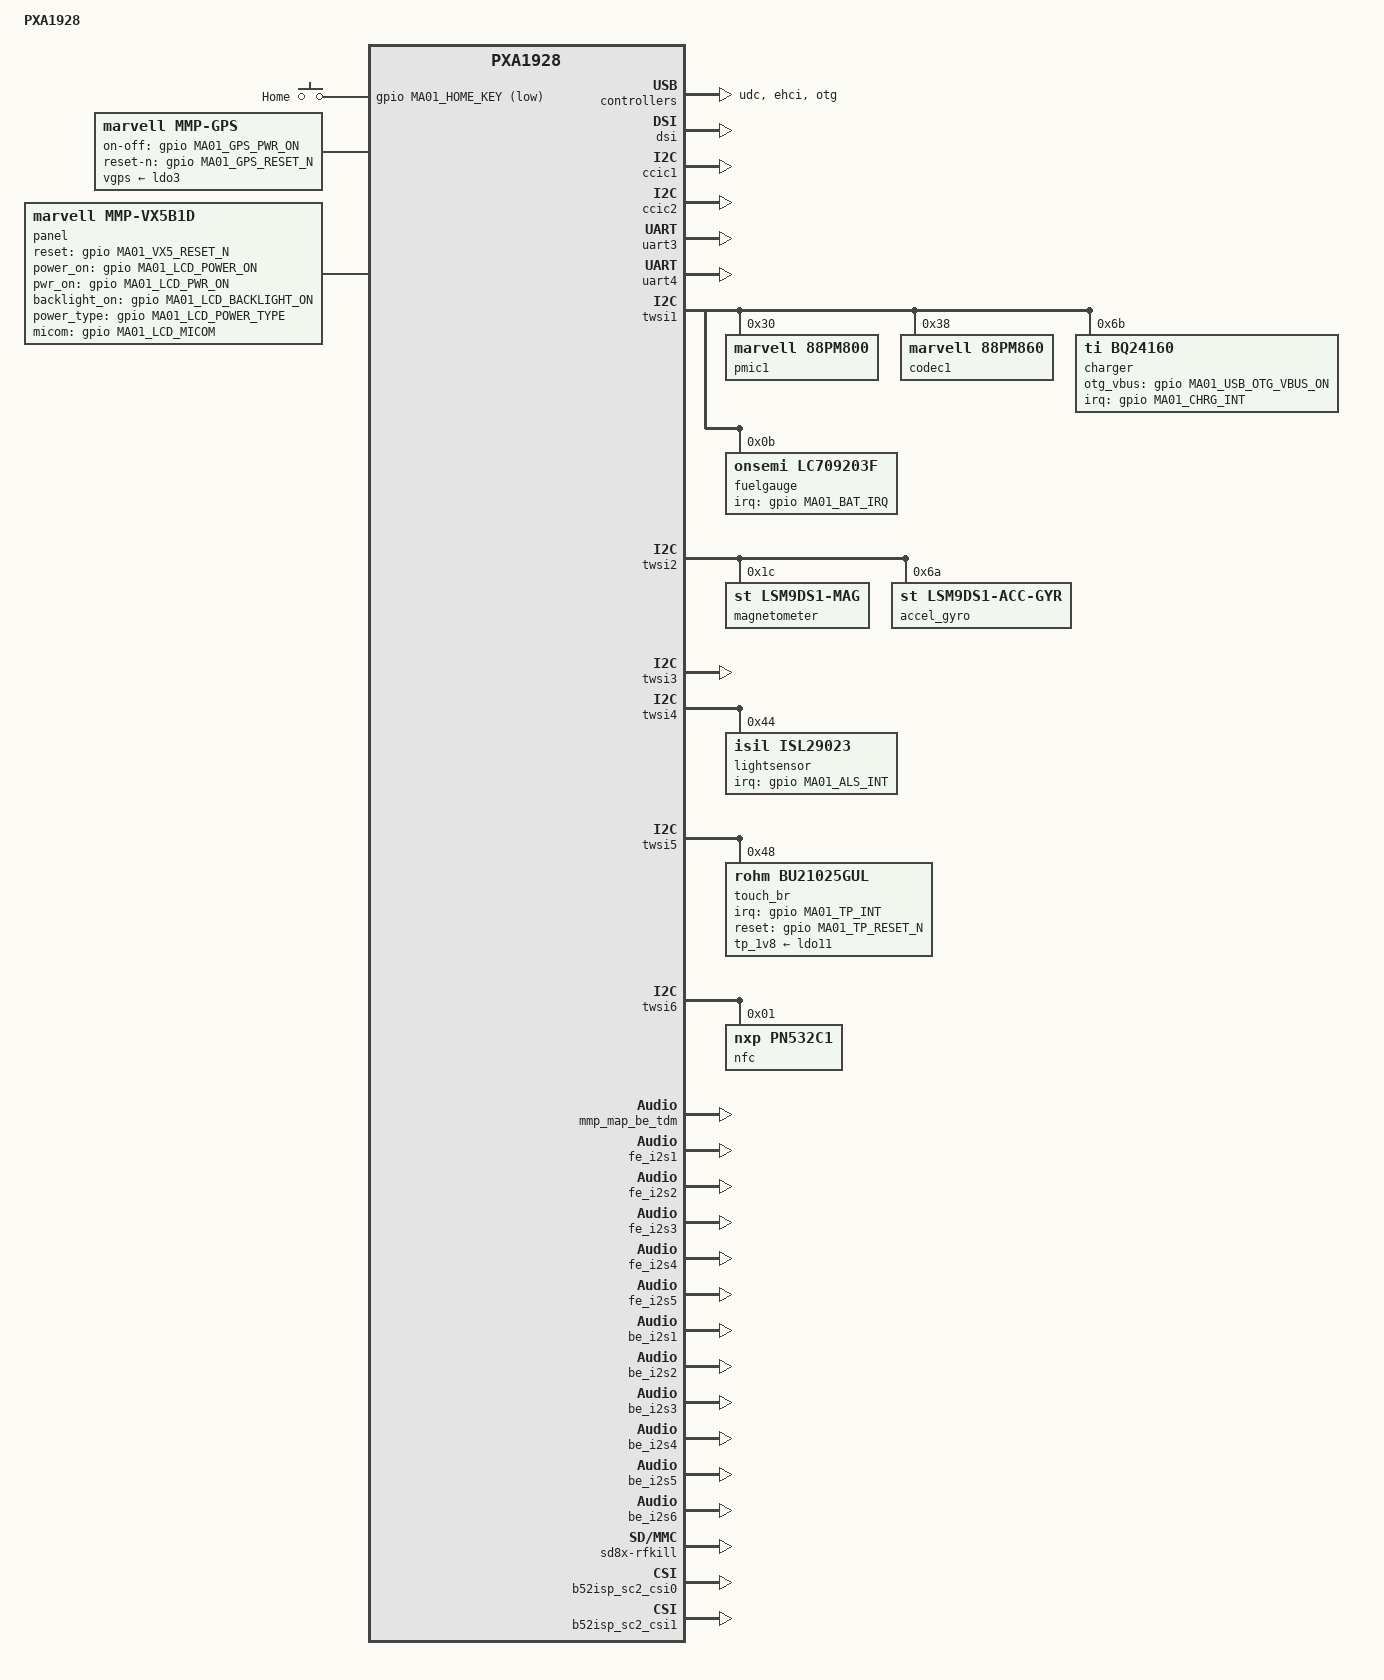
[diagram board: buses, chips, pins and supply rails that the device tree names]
/*
 *  Copyright (C) 2014 SANYO Techno Solutions Tottori Co., Ltd.
 *
 *  This program is free software; you can redistribute it and/or modify
 *  it under the terms of the GNU General Public License version 2 as
 *  publishhed by the Free Software Foundation.
 */

/dts-v1/;

/* GC reserved 16M */
/memreserve/ 0x09000000 0x01000000;
/* default fb-mem
 * (size: 256_align(1080*4)*1920*3+pitch_align(256_align(1080*4)*1920/512)*3(for dec header)) */
/memreserve/ 0x17000000 0x017f4c00;
/* ramoops buffer (256KB) */
/memreserve/ 0x08100000 0x00040000;

#define PXA1928_DISCRETE

#include "pxa1928.dtsi"
#include "pxa1928ma03-pinfunc.h"
#include "regulator.h"
#include <dt-bindings/mmc/pxa_sdhci.h>

/ {
	model = "PXA1928";
	compatible = "sanyots,pxa1928-ma04", "mrvl,pxa1928";

	interrupt-parent = <&gic>;

	aliases {
		serial0 = &uart3;	/* UART for AP */
		serial1 = &uart1;
		serial2 = &uart4;	/* UART for GPS */
		serial3 = &uart2;
	};

	memory {
		device_type = "memory";
		reg = <0 0 0x40000000>;
	};

	gic: interrupt-controller@d1e02000 {
		status = "okay";
	};

	generic-timer {
		status = "okay";
	};

	gpio_keys {
			compatible = "gpio-keys";
			pinctrl-names = "default";
			pinctrl-0 = <&gpio_keys_pins>;
			#address-cells = <1>;
			#size-cells = <0>;

		home {
			label = "Home";
			linux,code = <172>;	/* KEY_HOMEPAGE */
			gpios = <&gpio MA01_HOME_KEY 1>;
		};
	};

	gps: mmp-gps {
		compatible = "marvell,mmp-gps";
		pinctrl-names = "lpm_drv_low", "lpm_drv_high";
		pinctrl-0 = <&gps_lpm_drv_low_pins>;
		pinctrl-1 = <&gps_lpm_drv_high_pins>;
		marvell,mfp-lpm;
		vgps-supply = <&ldo3>;
		on-off-gpio = <&gpio MA01_GPS_PWR_ON 0>;
		reset-n-gpio = <&gpio MA01_GPS_RESET_N 0>;
	};

	soc {
		axi@d4200000 {	/* AXI */
			wakeup: wakeupgen@d4284000 {
				compatible = "mrvl,pxa1928-intc-wakeupgen";
				reg = <0xd4284000 0x1000>, <0xd4282800 0x3ec>;
				mrvl,intc-gbl-mask = <
					0x114 0x1
					0x1d8 0x1
					0x208 0x1
					0x238 0x1
				>;
				mrvl,intc-for-sp = <>;
				mrvl,intc-wake-clr = <>;
			};

			usbphy: usbphy@d4207000 {
				status = "okay";
			};

			udc: udc@d4208100 {
				status = "okay";
			};

			ehci: ehci@d4208100 {
				status = "okay";
			};

			otg: otg@d4208100 {
				status = "okay";
			};

			hsicphy: hsicphy@f0a01800 {
				status = "okay";
			};

			hsic: hsic@f0a01100 {
				status = "okay";
			};

			dsi: dsi@d420b800 {
				marvell,phy-name = "mmp_dsi1";
				marvell,plat-path-name = "mmp_pnpath";
				marvell,dsi-lanes = <2>;
				marvell,burst-mode = <2>;	/* DSI_BURST_MODE_BURST */
				marvell,hfp-en;
				marvell,hbp-en;
				dsi_avdd-supply = <&buck3>;
				status = "okay";
			};

			vdma: vdma@d427f000 {
				marvell,vdma-num = <4>;
				status = "okay";
				vdma1 {
					marvell,vdma-id = <0>;
					marvell,sram-size = <69632>;
					marvell,is_vid = <0>;
				};
				vdma2 {
					marvell,vdma-id = <1>;
					marvell,sram-size = <0>;
					marvell,is_vid = <0>;
				};
				vdma3 {
					marvell,vdma-id = <2>;
					marvell,sram-size = <60928>;
					marvell,is_vid = <1>;
				};
				vdma4 {
					marvell,vdma-id = <3>;
					marvell,sram-size = <0>;
					marvell,is_vid = <1>;
				};
			};

			apical: apical@d420b400 {
				marvell,apical-num = <1>;
			};

			disp: disp@d420b000 {
				marvell,disp-name = "mmp_disp";
				marvell,path-num = <1>;
				marvell,disp-aclk-dfc;
				marvell,disp-aclk-parent = "pll1_d2", "pll1_416", "pll1_624";
				status = "okay";
				path1 {
					marvell,path-name = "mmp_pnpath";
					marvell,overlay-num = <2>;
					marvell,overlay-table = <0>, <1>;
					marvell,output-type = <1>;			/* PATH_OUT_DSI */
					marvell,path-config = <0x10>;
					marvell,link-config = <1>;
					pn_sclk_clksrc {
						clksrc = "pll3";
					};
					disp1_clksrc {
/*						clksrc = "pll3";*/
						clksrc = "pll1_416";
					};
					disp_apmu {
						plat = <2>;		/* PXA1928 */
						apmu-reg = <0xd4282984>;
						clksrc-bit = <12>;
						parent1-clk-tbl = "disp1", "pll3";
						parent2-clk-tbl = "pll1_416", "pll1_624", "pll3";
					};
				};
			};

			fb: fbbase {
				marvell,fb-name = "mmp_fb";
				marvell,path-name = "mmp_pnpath";
				marvell,overlay-id = <1>;
				marvell,default-pixfmt = <0x109>;
				marvell,buffer-num = <3>;
				marvell,fb-mem = <0x17000000>;
				status = "okay";
			};

			fb1: fb-overlay {
				marvell,fb-name = "mmp_fb_overlay";
				marvell,path-name = "mmp_pnpath";
				marvell,overlay-id = <0>;
				status = "okay";
			};

			gpu {
				gpu-mem-base = <0x09000000>;
				gpu-mem-size = <0x1000000>;
				status = "okay";
			};

			gpu2d {
				status = "okay";
			};

			sc2mmu1: sc2mmu@d4209000 {
				status = "okay";
			};

			/* Camera (rear) */
			ccic1: ccic@d420a000 {
				status = "okay";
				pinctrl-names = "default", "twsi3", "sccb";
				pinctrl-0 = <&twsi3_ccic1_gpio_pins &twsi3_ccic1_gpio_pins_pulldn>;
				pinctrl-1 = <&twsi3_ccic1_pins>;
				pinctrl-2 = <&twsi3_ccic1_sccb_pins>;
				ccic_couple {
					    ccic_coupled = <1>;
				};
			};

			/* Camera (front) */
			ccic2: ccic@d420a800 {
				status = "okay";
				pinctrl-names = "default", "twsi3", "sccb";
				pinctrl-0 = <&twsi3_ccic2_gpio_pins &twsi3_ccic2_gpio_pins_pulldn>;
				pinctrl-1 = <&twsi3_ccic2_pins>;
				pinctrl-2 = <&twsi3_ccic2_sccb_pins>;
				ccic_couple {
					    ccic_coupled = <1>;
				};
			};

			adma0: adma@c0ffd800 {
				status = "okay";
			};
			adma1: adma@c0ffd900 {
				status = "okay";
			};

			/* MMC3 (eMMC) */
			sdh3: sdh@d4217000 {
				pinctrl-names = "default", "fast";
				pinctrl-0 = <&sdh3_pins_pullup &sdh3_pins_pulldn>;
				pinctrl-1 = <&sdh3_pins_pullup_fast &sdh3_pins_pulldn_fast>;
				bus-width = <8>;
				non-removable;
				marvell,sdh-pm-runtime-en;
				marvell,sdh-flags = <(
					PXA_FLAG_SD_8_BIT_CAPABLE_SLOT |
					PXA_FLAG_ENABLE_CLOCK_GATING |
					PXA_FLAG_NEW_RX_CFG_REG |
					PXA_FLAG_TX_SEL_BUS_CLK
				)>;
				marvell,sdh-quirks = <(SDHCI_QUIRK_BROKEN_CARD_DETECTION)>;
				marvell,sdh-quirks2 = <(
					SDHCI_QUIRK2_TIMEOUT_SHORT |
					SDHCI_QUIRK2_TUNING_ADMA_BROKEN |
					SDHCI_QUIRK2_FAKE_CMD_INDEX_ERR
				)>;
				marvell,sdh-host-caps = <(MMC_CAP_1_8V_DDR)>;
				marvell,sdh-host-caps2 = <(MMC_CAP2_HS200_1_8V_SDR)>;
				/* prop "mrvl,dtr_data": <timing preset_rate src_rate tx_delay rx_delay rx_sdclk_sel0 rx_sdclk_sel1 fclk_tune_level fclk_fix_en> */
				marvell,sdh-dtr-data =
					<PXA_MMC_TIMING_LEGACY PXA_SDH_DTR_26M PXA_SDH_DTR_156M 0 0 0 0 0 0>,
					<PXA_MMC_TIMING_MMC_HS PXA_SDH_DTR_52M PXA_SDH_DTR_156M 0 0 0 0 4 0>,
					<PXA_MMC_TIMING_UHS_DDR50 PXA_SDH_DTR_52M PXA_SDH_DTR_156M 298 673 2 1 4 0>,
					<PXA_MMC_TIMING_MMC_HS200 PXA_SDH_DTR_156M PXA_SDH_DTR_156M 292 210 3 1 0 0>,
					<PXA_MMC_TIMING_MAX PXA_SDH_DTR_PS_NONE PXA_SDH_DTR_156M 0 0 0 0 0 0>;
				marvell,sdh-tuning-win-limit = <150>;
				marvell,sdh-dvfs-levels = <4 15>; /* tuning from dvfs level 0 to 15  */
				marvell,sdh-tuning-mode = <PXA_SDH_TUNING_DVFS>;
				status = "okay";
			};

			/* MMC1 (SD card) */
			sdh1: sdh@d4280000 {
				pinctrl-names = "default", "fast";
				pinctrl-0 = <&sdh1_pins_pullup &sdh1_pins_pulldn>;
				pinctrl-1 = <&sdh1_pins_pullup_fast &sdh1_pins_pulldn_fast>;
				bus-width = <4>;
				vqmmc-supply    = <&ldo17>;
				vmmc-supply     = <&ldo5>;
				marvell,sdh-pm-runtime-en;
				marvell,sdh-flags = <(
					PXA_FLAG_ENABLE_CLOCK_GATING |
					PXA_FLAG_NEW_RX_CFG_REG |
					PXA_FLAG_TX_SEL_BUS_CLK
					)>;
				marvell,sdh-quirks2 = <(
					SDHCI_QUIRK2_TIMEOUT_SHORT |
					SDHCI_QUIRK2_BASE_CLOCK_ALWAYS_ON |
					SDHCI_QUIRK2_TUNING_ADMA_BROKEN |
					SDHCI_QUIRK2_SET_AIB_MMC |
					SDHCI_QUIRK2_DMA_CLOCK_FORCE_ON |
					SDHCI_QUIRK2_FAKE_CMD_INDEX_ERR
					)>;
				/* prop "mrvl,dtr_data": <timing preset_rate src_rate tx_delay rx_delay rx_sdclk_sel0 rx_sdclk_sel1 fclk_tune_level fclk_fix_en> */
				marvell,sdh-dtr-data =
					<PXA_MMC_TIMING_LEGACY PXA_SDH_DTR_26M PXA_SDH_DTR_156M 0 0 0 0 0 0>,
					<PXA_MMC_TIMING_SD_HS PXA_SDH_DTR_52M PXA_SDH_DTR_156M 0 0 0 0 4 0>,
					<PXA_MMC_TIMING_UHS_DDR50 PXA_SDH_DTR_52M PXA_SDH_DTR_156M 266 0 0 0 4 0>,
					<PXA_MMC_TIMING_UHS_SDR104 PXA_SDH_DTR_156M PXA_SDH_DTR_156M 248 327 3 1 0 0>,
					<PXA_MMC_TIMING_MAX PXA_SDH_DTR_PS_NONE PXA_SDH_DTR_156M 0 0 0 0 0 0>;
				marvell,sdh-tuning-win-limit = <150>;
				marvell,sdh-dvfs-levels = <4 15>; /* tuning from dvfs level 0 to 15  */
				marvell,sdh-tuning-mode = <PXA_SDH_TUNING_DVFS>;
				status = "okay";
			};

			/* MMC2 (SDIO) */
			sdh2: sdh@d4280800 {
				pinctrl-names = "default", "fast", "sleep";
				pinctrl-0 = <&sdh2_pins_pullup &sdh2_pins_pulldn>;
				pinctrl-1 = <&sdh2_pins_pullup_fast &sdh2_pins_pulldn_fast>;
				pinctrl-2 = <&sdh2_pins_edge_wakeup>;
				bus-width = <4>;
				marvell,sdh-pm-runtime-en;
				marvell,sdh-quirks = <(SDHCI_QUIRK_BROKEN_CARD_DETECTION)>;
				marvell,sdh-quirks2 = <(
					SDHCI_QUIRK2_FAKE_SDIO_IRQ_IN_UHS |
					SDHCI_QUIRK2_TUNING_ADMA_BROKEN |
					SDHCI_QUIRK2_TIMEOUT_SHORT |
					SDHCI_QUIRK2_BASE_CLOCK_ALWAYS_ON |
					SDHCI_QUIRK2_MANUAL_CARD_DETECT |
					SDHCI_QUIRK2_HOLDSUSPEND_AFTER_REQUEST |
					SDHCI_QUIRK2_FAKE_CMD_INDEX_ERR
					)>;
				marvell,sdh-pm-caps = <(MMC_PM_KEEP_POWER)>;
				marvell,sdh-host-caps-disable = <(MMC_CAP_UHS_SDR104 | MMC_CAP_UHS_SDR50)>;
				marvell,sdh-host-caps2 = <(MMC_CAP2_NO_VOLTAGE_SWITCH)>;
				marvell,sdh-flags = <(
					PXA_FLAG_WAKEUP_HOST |
					PXA_FLAG_TX_SEL_BUS_CLK |
					PXA_FLAG_NEW_RX_CFG_REG |
					PXA_FLAG_DISABLE_PROBE_CDSCAN
					)>;
				/* prop "mrvl,dtr_data": <timing preset_rate src_rate tx_delay rx_delay rx_sdclk_sel0 rx_sdclk_sel1 fclk_tune_level fclk_fix_en> */
				marvell,sdh-dtr-data =
					<PXA_MMC_TIMING_LEGACY PXA_SDH_DTR_26M PXA_SDH_DTR_156M 0 0 0 0 0 0>,
					<PXA_MMC_TIMING_SD_HS PXA_SDH_DTR_52M PXA_SDH_DTR_156M 0 0 0 0 4 0>,
					<PXA_MMC_TIMING_UHS_DDR50 PXA_SDH_DTR_52M PXA_SDH_DTR_156M 0 0 0 0 4 0>,
					<PXA_MMC_TIMING_UHS_SDR104 PXA_SDH_DTR_156M PXA_SDH_DTR_156M 250 260 3 1 0 0>,
					<PXA_MMC_TIMING_MAX PXA_SDH_DTR_PS_NONE PXA_SDH_DTR_156M 0 0 0 0 0 0>;
				marvell,sdh-tuning-win-limit = <150>;
				marvell,sdh-dvfs-levels = <4 15>; /* tuning from dvfs level 0 to 15  */
				marvell,sdh-tuning-mode = <PXA_SDH_TUNING_DVFS>;
				status = "okay";
			};
		};

		axi@f0400000 {
			dec@0xf0400000 {
				marvell,codec-type = <0>;
				marvell,hw-capacity = <0>;
				status = "okay";
			};

			pp@0xf0400000 {
				marvell,codec-type = <1>;
				marvell,hw-capacity = <0>;
				status = "okay";
			};

			enc@0xf0400800 {
				marvell,codec-type = <2>;
				marvell,hw-capacity = <0>;
				status = "okay";
			};

			b52isp: b52isp@0xF0B00000 {
				status = "okay";
			};
		};

		apb@d4000000 {
			/* PDMA Controller 0 */
			pdma0: pdma@d4000000 {
				status = "okay";
			};

			/* PDMA Controller 1 */
			pdma1: pdma@d4008000 {
				status = "okay";
			};

			/* UART for AP */
			uart3: uart@d4018000 {
				pinctrl-names = "default","sleep";
				pinctrl-0 = <&ap_uart3_txd &ap_uart3_rxd>;
				pinctrl-1 = <&ap_uart3_txd &ap_uart3_rxd_sleep>;
				edge-wakeup-gpio = <MA01_AP_UART3_RXD>;
				status = "okay";
			};

			/* UART for GPS */
			uart4: uart@d4016000 {
				pinctrl-names = "default";
				pinctrl-0 = <&uart4_pins>;
				status = "okay";
			};

			mfpr: mfpr@d401e000 {
				pinctrl-names = "default";
				reg = <0xd401e000 0x31c>;
				pinctrl-0 = <
					&lcd_pins
					&lcd_pull_up_pins
					&test_pins
				>;
				status = "okay";
			};

			gpio: gpio@d4019000 {
				status = "okay";
			};

			/* TWSI1 (PWR_I2C) */
			twsi1: i2c@d4011000 {
				pinctrl-names = "default", "gpio", "i2c_cp";
				pinctrl-0 = <&twsi1_pins>;
				pinctrl-1 = <&twsi1_gpio_pins>;
				pinctrl-2 = <&twsi1_cp_pins>;
				i2c-gpio = <&gpio MA01_PWR_I2C_SCL 0 &gpio MA01_PWR_I2C_SDA 0>;
				mrvl,i2c-apdcp;
				status = "okay";
				pmic1: 88pm860@30 {
					compatible = "marvell,88pm800";
					reg = <0x30>;
					interrupts = <0 77 0x4>;
					interrupt-parent = <&gic>;
					interrupt-controller;
					#interrupt-cells = <1>;
					marvell,88pm800-power-page-addr = <0x31>;
					marvell,88pm800-gpadc-page-addr = <0x32>;

					regulators {
						compatible = "marvell,88pm80x-regulator";
						buck1a: BUCK1A { PM800_BUCK1A; regulator-boot-on; regulator-always-on; };
						buck2:  BUCK2  { PM800_BUCK2;  regulator-boot-on; regulator-always-on; };
						buck3:  BUCK3  { PM800_BUCK3;  regulator-boot-on; regulator-always-on; };
						buck4:  BUCK4  { PM800_BUCK4;  regulator-boot-on; regulator-always-on; };
						buck5:  BUCK5  { PM800_BUCK5;  regulator-always-on; };
						buck6:  BUCK6  { PM800_BUCK6;  regulator-boot-on; regulator-always-on; };
						buck1b: BUCK1B { PM800_BUCK1B; regulator-boot-on; regulator-always-on; };
						ldo1:   LDO1   { PM800_LDO1;   regulator-boot-on; regulator-always-on; };
						ldo2:   LDO2   { PM800_LDO2;   regulator-boot-on; regulator-always-on; };
						ldo3:   LDO3   { PM800_LDO3;   };
						ldo4:   LDO4   { PM800_LDO4;   regulator-boot-on; regulator-always-on; };
						ldo5:   LDO5   { PM800_LDO5;   };
						ldo6:   LDO6   { PM800_LDO6;   };
						ldo7:   LDO7   { PM800_LDO7;   };
						ldo8:   LDO8   { PM800_LDO8;   regulator-boot-on; regulator-always-on; };
						ldo9:   LDO9   { PM800_LDO9;   regulator-boot-on; regulator-always-on; };
						ldo10:  LDO10  { PM800_LDO10;  regulator-boot-on; regulator-always-on; };
						ldo11:  LDO11  { PM800_LDO11;  regulator-boot-on; regulator-always-on; };
						ldo12:  LDO12  { PM800_LDO12;  regulator-boot-on; regulator-always-on; };
						ldo13:  LDO13  { PM800_LDO13;  regulator-boot-on; regulator-always-on; };
						ldo14:  LDO14  { PM800_LDO14;  regulator-boot-on; regulator-always-on; };
						ldo15:  LDO15  { PM800_LDO15;  regulator-boot-on; regulator-always-on; };
						ldo16:  LDO16  { PM800_LDO16;  regulator-boot-on; regulator-always-on; };
						ldo17:  LDO17  { PM800_LDO17;  };
						ldo18:  LDO18  { PM800_LDO18;  regulator-boot-on; regulator-always-on; };
						ldo19:  LDO19  { PM800_LDO19;  regulator-boot-on; };
						ldo20:  LDO20  { PM800_LDO20;  };
					};
					headset {
						compatible = "marvell,88pm80x-headset";
						marvell,headset-flag = <0>;
						marvell,hook-press-th = <60>;
						marvell,vol-up-press-th = <250>;
						marvell,vol-down-press-th = <500>;
						marvell,mic-det-th = <600>;
						marvell,press-release-th = <600>;
						marvell,ground-detect = <0>;
						marvell,micbias-supply = <&ldo20>;
						marvell,micbias-volt = <1700>;
					};
					dvc {
						compatible = "marvell,88pm8xx-dvc";
						/* pm860 dvc affect buck1/3/5, affected 32bit = (1 << 4) | (1 << 2) | (1 << 0)*/
						/* we don't need to set buck1b since dual phase mode is enabled. */
						dvc-affected-buckbits = <21>;
						pinctrl-names = "default";
						pinctrl-0 = <&dvc_pins>;
					};
					onkey {
						compatible = "marvell,88pm80x-onkey";
						onkey-gpio-number = <3>;
						/* hardware reset: just reset */
						hw-rst-type = <1>;
						/* long onkey: power down */
						long-onkey-type = <1>;
					};
				};

				codec1: 88pm860@38 {
					compatible = "marvell,88pm860";
					reg = <0x38>;
					status = "okay";
					pm860_codec: pm860_codec {
						compatible = "marvell,88pm860-codec";
						#dailink-cells = <1>;
					};
				};

				charger: bq24160@6b {
					compatible = "ti,bq24160";
					reg = <0x6b>;
					pinctrl-names = "default","sleep";
					pinctrl-0 = <&bq24160_int_pin>;
					pinctrl-1 = <&bq24160_int_pin_sleep>;
					interrupt-parent = <&gpio>;
					interrupts = <MA01_CHRG_INT 0x1>;
					edge-wakeup-gpio = <MA01_CHRG_INT>;
					otg_vbus_gpio = <&gpio MA01_USB_OTG_VBUS_ON 0>;
				};

				fuelgauge: lc709203f@0b {
					compatible = "onsemi,lc709203f";
					reg = <0x0b>;
					interrupt-parent = <&gpio>;
					interrupts = <MA01_BAT_IRQ 0x1>;
				};
			};

			/* TWSI2 (INERT_I2C) */
			twsi2: i2c@d4031000 {
				pinctrl-names = "default", "gpio";
				pinctrl-0 = <&twsi2_pins>;
				pinctrl-1 = <&twsi2_gpio_pins>;
				i2c-gpio = <&gpio MA01_INERT_I2C_SCL 0 &gpio MA01_INERT_I2C_SDA 0>;
				mrvl,i2c-polling;
				status = "okay";

				magnetometer: lsm9ds1_mag@1c {
					compatible = "st,lsm9ds1-mag";
					reg = <0x1c>;
					rot-matrix = /bits/ 16 <
						0xFFFF 0x0000 0x0000
						0x0000 0x0001 0x0000
						0x0000 0x0000 0xFFFF
						>;
					rot-matrix_p = /bits/ 16 <
						0x0000 0x0001 0x0000
						0x0001 0x0000 0x0000
						0x0000 0x0000 0xFFFF
						>;
				};

				accel_gyro: lsm9ds1_acc_gyro@6a {
					compatible = "st,lsm9ds1-acc-gyr";
					reg = <0x6a>;
					rot-matrix = /bits/ 16 <
						0x0001 0x0000 0x0000
						0x0000 0x0001 0x0000
						0x0000 0x0000 0xFFFF
						>;
					rot-matrix_p = /bits/ 16 <
						0x0000 0x0001 0x0000
						0xFFFF 0x0000 0x0000
						0x0000 0x0000 0xFFFF
						>;
				};
			};

			/* TWSI3 (-> TWSI1_ISP/TWSI2_ISP) */
			twsi3: i2c@d4032000 {
				status = "okay";
			};

			/* TWSI4 (ALS_I2C) */
			twsi4: i2c@d4033000 {
				pinctrl-names = "default", "gpio";
				pinctrl-0 = <&twsi4_pins>;
				pinctrl-1 = <&twsi4_gpio_pins>;
				i2c-gpio = <&gpio MA01_ALS_I2C_SCL 0 &gpio MA01_ALS_I2C_SDA 0>;
				status = "okay";

				lightsensor: isl29023@44 {
					compatible = "isil,isl29023";
					interrupt-parent = <&gpio>;
					interrupts = <MA01_ALS_INT 0x1>;
					irq-gpio = <&gpio MA01_ALS_INT 0>;
					reg = <0x44>;
				};

#if 0
				lightsensor1: sr200pc20m@xx {
					/* TODO */
				};
#endif
			};

			/* TWSI5 (TP/VX5_I2C) */
			twsi5: i2c@d4033800 {
				pinctrl-names = "default", "gpio";
				pinctrl-0 = <&twsi5_pins>;
				pinctrl-1 = <&twsi5_gpio_pins>;
				i2c-gpio = <&gpio MA01_TPVX5_I2C_SCL 0 &gpio MA01_TPVX5_I2C_SDA 0>;
				status = "okay";

				touch_br: bu21025@48 {
					compatible = "rohm,bu21025gul";
					pinctrl-names = "default";
					pinctrl-0 = <&touch_int_pin &touch_reset_pin>;
					reg = <0x48>;
					interrupt-parent = <&gpio>;
					interrupts = <MA01_TP_INT 0x1>;
					irq-gpio = <&gpio MA01_TP_INT 0>;
					reset-gpio = <&gpio MA01_TP_RESET_N 0>;
					tp_1v8-supply = <&ldo11>;
				};
			};

			/* TWSI6 (NFC_I2C) */
			twsi6: i2c@d4034000 {
				pinctrl-names = "default", "gpio";
				pinctrl-0 = <&twsi6_pins>;
				pinctrl-1 = <&twsi6_gpio_pins>;
				i2c-gpio = <&gpio MA01_NFC_I2C_SCL 0 &gpio MA01_NFC_I2C_SDA 0>;
				status = "okay";

				nfc: pn532c1@00 {
					compatible = "nxp,pn532c1";			/* FIXME */
					reg = <0x01>;						/* FIXME */
					/* TODO */
				};
			};

			thermal: thermal@d403b000 {
				status = "okay";
			};

			edgewakeup: edgewakeup@d4019800 {
				status = "okay";
			};

			keypad: keypad@d4012000 {
				marvell,direct-keys;
				marvell,direct-key-low-active;
				marvell,keypad-lpm-mod;
				marvell,direct-key-count = <8>;
				marvell,direct-key-mask = <0xff>;
				marvell,direct-key-map = <
					0x00 0x72 0x00 0x00 0x00 0x00 0x00 0x73
				>;
				marvell,debounce-interval = <30>;
				pinctrl-names = "default";
				pinctrl-0 = <&keypad_in_func>;
				status = "okay";
			};

			/* SSPA0 (I2S1) */
			sspa0: sspa@c0ffdc00 {
				pinctrl-names = "default";
				pinctrl-0 = <&sspa0_func>;
				playback_period_bytes = <4096>;
				playback_buffer_bytes = <12288>;
				capture_period_bytes = <4096>;
				capture_buffer_bytes = <8192>;
				sleep_vol = <0x1a>;
				#dailink-cells = <1>;
				status = "okay";
			};

			/* SSPA1 (I2S2) */
			sspa1: sspa@c0ffdd00 {
				pinctrl-names = "default";
				pinctrl-0 = <&sspa1_func>;
				playback_period_bytes = <16384>;
				playback_buffer_bytes = <32768>;
				capture_period_bytes = <4096>;
				capture_buffer_bytes = <8192>;
				sleep_vol = <0x1a>;
				#dailink-cells = <1>;
				status = "okay";
			};

			map: map@c3000000 {
				marvell,b0_fix;
				marvell,apll = <0>;
				status = "okay";
				mmp_map_codec: mmp_map_codec {
					compatible = "marvell,mmp-map-codec";
					#dailink-cells = <1>;
				};
				mmp_map_be: mmp_map_be {
					compatible = "marvell,mmp-map-be";
					#dailink-cells = <1>;
				};
				mmp_map_be_tdm: mmp_map_be_tdm {
					compatible = "marvell,mmp-map-be-tdm";
					#dailink-cells = <1>;
				};
			};

			pmx: pinmux@d401e000 {
				status = "okay";

				/* pin base, nr pins & gpio function */
				pinctrl-single,gpio-range = <PXA1928_GPIO_PINMUX>;

				/* UART3 */
				ap_uart3_rxd: pinmux_ap_uart3_rxd {
					pinctrl-single,pins = <UART3_RXD>;
					MFP_DEFAULT;
				};
				ap_uart3_rxd_sleep: pinmux_ap_uart3_rxd_sleep {
					pinctrl-single,pins = <UART3_RXD>;
					MFP_EDGE_BOTH_DETECT;
				};
				ap_uart3_txd: pinmux_ap_uart3_txd {
					pinctrl-single,pins = <UART3_TXD>;
					MFP_LPM_PULL_HIGH;
				};

				/* UART4 */
				uart4_pins: pinmux_uart4_pins {
					pinctrl-single,pins = <
						UART4_RXD UART4_TXD UART4_RTS UART4_CTS
					>;
					MFP_DEFAULT;
				};

				/* TWSI1 (PWR_I2C) */
				twsi1_pins: pinmux_twsi1_pins {
					pinctrl-single,pins = <PWR_SCL PWR_SDA>;
					MFP_DEFAULT;
				};
				twsi1_gpio_pins: pinmux_twsi1_gpio_pins {
					pinctrl-single,pins = <
						GPIO(MA01_PWR_I2C_SCL)
						GPIO(MA01_PWR_I2C_SDA)
					>;
					MFP_DEFAULT;
				};
				twsi1_cp_pins: pinmux_twsi1_cp_pins {
					pinctrl-single,pins = <CP_TWSI_SCL CP_TWSI_SDA>;
					MFP_DEFAULT;
				};

				/* TWSI2 (INERT_I2C) */
				twsi2_pins: pinmux_twsi2_pins {
					pinctrl-single,pins = <TWSI2_SCL TWSI2_SDA>;
					MFP_DEFAULT;
				};
				twsi2_gpio_pins: pinmux_twsi2_gpio_pins {
					pinctrl-single,pins = <
						GPIO(MA01_INERT_I2C_SCL)
						GPIO(MA01_INERT_I2C_SDA)
					>;
					MFP_DEFAULT;
				};

				/* TWSI3/TWSI1_ISP/TWSI2_ISP (FCAM_I2C/RCAM_I2C) */
				twsi3_ccic1_gpio_pins: pinmux_twsi3_gpio_pins {
					pinctrl-single,pins = <
						GPIO(MA01_RCAM_I2C_SCL)
						GPIO(MA01_RCAM_I2C_SDA)
					>;
					MFP_DEFAULT;
				};
				twsi3_ccic1_gpio_pins_pulldn: pinmux_twsi3_ccic1_gpio_pins_pulldn {
					pinctrl-single,pins = <
						GPIO(MA01_RCAM_MCLK_26MHZ)
					>;
					MFP_PULL_DOWN;
				};
				twsi3_ccic1_pins: pinmux_twsi3_ccic1_pins {
					pinctrl-single,pins = <CAM_MCLK_R TWSI3_SCL_1 TWSI3_SDA_1>;
					MFP_DEFAULT;
				};
				twsi3_ccic1_sccb_pins: pinmux_twsi3_sccb1_pins {
					pinctrl-single,pins = <CAM_MCLK_R TWSI1_ISP_SCL TWSI1_ISP_SDA>;
					MFP_DEFAULT;
				};
				twsi3_ccic2_gpio_pins: pinmux_twsi3_ccic2_gpio_pins {
					pinctrl-single,pins = <
						GPIO(MA01_FCAM_I2C_SCL)
						GPIO(MA01_FCAM_I2C_SDA)
					>;
					MFP_DEFAULT;
				};
				twsi3_ccic2_gpio_pins_pulldn: pinmux_twsi3_ccic2_gpio_pins_pulldn {
					pinctrl-single,pins = <
						GPIO(MA01_FCAM_MCLK_26MHZ)
					>;
					MFP_PULL_DOWN;
				};
				twsi3_ccic2_pins: pinmux_twsi3_ccic2_pins {
					pinctrl-single,pins = <CAM_MCLK_F TWSI3_SCL_2 TWSI3_SDA_2>;
					MFP_DEFAULT;
				};
				twsi3_ccic2_sccb_pins: pinmux_twsi3_ccic2_sccb_pins {
					pinctrl-single,pins = <CAM_MCLK_F TWSI2_ISP_SCL TWSI2_ISP_SDA>;
					MFP_DEFAULT;
				};

				/* TWSI4 (ALS_I2C) */
				twsi4_pins: pinmux_twsi4_pins {
					pinctrl-single,pins = <TWSI4_SCL TWSI4_SDA>;
					MFP_DEFAULT;
				};
				twsi4_gpio_pins: pinmux_twsi4_gpio_pins {
					pinctrl-single,pins = <
						GPIO(MA01_ALS_I2C_SCL)
						GPIO(MA01_ALS_I2C_SDA)
					>;
					MFP_DEFAULT;
				};

				/* TWSI5 (TP/VX5_I2C) */
				twsi5_pins: pinmux_twsi5_pins {
					pinctrl-single,pins = <TWSI5_SCL TWSI5_SDA>;
					MFP_DEFAULT;
				};
				twsi5_gpio_pins: pinmux_twsi5_gpio_pins {
					pinctrl-single,pins = <
						GPIO(MA01_TPVX5_I2C_SCL)
						GPIO(MA01_TPVX5_I2C_SDA)
					>;
					MFP_DEFAULT;
				};

				/* TWSI6 (NFC_I2C) */
				twsi6_pins: pinmux_twsi6_pins {
					pinctrl-single,pins = <TWSI6_SCL TWSI6_SDA>;
					MFP_DEFAULT;
				};
				twsi6_gpio_pins: pinmux_twsi6_gpio_pins {
					pinctrl-single,pins = <
						GPIO(MA01_NFC_I2C_SCL)
						GPIO(MA01_NFC_I2C_SDA)
					>;
					MFP_DEFAULT;
				};

				/* MMC1 (SD Card) */
				sdh1_pins_pullup: pinmux_sdh1_pins_pullup {
					pinctrl-single,pins = <
						MMC1_DAT3 MMC1_DAT2 MMC1_DAT1 MMC1_DAT0
						MMC1_CMD  MMC1_CD
					>;
					MFP_PULL_UP;
				};
				sdh1_pins_pullup_fast: pinmux_sdh1_pins_pullup_fast {
					pinctrl-single,pins = <
						MMC1_DAT3 MMC1_DAT2 MMC1_DAT1 MMC1_DAT0
						MMC1_CMD  MMC1_CD
					>;
					DS_FAST;PULL_UP;EDGE_NONE;LPM_NONE;
				};
				sdh1_pins_pulldn: pinmux_sdh1_pins_pulldn {
					pinctrl-single,pins = <MMC1_CLK>;
					MFP_PULL_DOWN;
				};
				sdh1_pins_pulldn_fast: pinmux_sdh1_pins_pulldn_fast {
					pinctrl-single,pins = <MMC1_CLK>;
					DS_FAST;PULL_DOWN;EDGE_NONE;LPM_NONE;
				};

				/* MMC2 (SDIO) */
				sdh2_pins_pullup: pinmux_sdh2_pins_pullup {
					pinctrl-single,pins = <
						MMC2_DAT3 MMC2_DAT2 MMC2_DAT1 MMC2_DAT0
						MMC2_CMD
						>;
					MFP_DEFAULT;
				};
				sdh2_pins_pullup_fast: pinmux_sdh2_pins_pullup_fast {
					pinctrl-single,pins = <
						MMC2_DAT3 MMC2_DAT2 MMC2_DAT1 MMC2_DAT0
						MMC2_CMD
					>;
					DS_FAST;PULL_UP;EDGE_NONE;LPM_NONE;
				};
				sdh2_pins_pulldn: pinmux_sdh2_pins_pulldn {
					pinctrl-single,pins = <MMC2_CLK>;
					MFP_PULL_DOWN;
				};
				sdh2_pins_pulldn_fast: pinmux_sdh2_pins_pulldn_fast {
					pinctrl-single,pins = <MMC2_CLK>;
					DS_FAST;PULL_DOWN;EDGE_NONE;LPM_NONE;
				};
				sdh2_pins_pd_rst_off: pinmux_sdh2_pins_pd_rst_off {
					pinctrl-single,pins = <
						GPIO(MA01_WIFI_PDN)
					>;
					MFP_LPM_DRIVE_LOW;
				};
				sdh2_pins_pd_rst_on: pinmux_sdh2_pins_pd_rst_on {
					pinctrl-single,pins = <
						GPIO(MA01_WIFI_PDN)
					>;
					MFP_LPM_DRIVE_HIGH;
				};
				sdh2_pins_edge_wakeup: sdh2_pins_edge_wakeup {
					pinctrl-single,pins = <MMC2_DAT1>;
					DS_MEDIUM;PULL_NONE;EDGE_BOTH;LPM_NONE;
				};

				/* MMC3 (eMMC) */
				sdh3_pins_pullup: pinmux_sdh3_pins_pullup {
					pinctrl-single,pins = <
						MMC3_DAT7 MMC3_DAT6 MMC3_DAT5 MMC3_DAT4
						MMC3_DAT3 MMC3_DAT2 MMC3_DAT1 MMC3_DAT0
						MMC3_CMD  MMC3_RST
					>;
					MFP_PULL_UP;
				};
				sdh3_pins_pullup_fast: pinmux_sdh3_pins_pullup_fast {
					pinctrl-single,pins = <
						MMC3_DAT7 MMC3_DAT6 MMC3_DAT5 MMC3_DAT4
						MMC3_DAT3 MMC3_DAT2 MMC3_DAT1 MMC3_DAT0
						MMC3_CMD  MMC3_RST
					>;
					DS_FAST;PULL_UP;EDGE_NONE;LPM_NONE;
				};
				sdh3_pins_pulldn: pinmux_sdh3_pins_pulldn {
					pinctrl-single,pins = <MMC3_CLK>;
					MFP_PULL_DOWN;
				};
				sdh3_pins_pulldn_fast: pinmux_sdh3_pins_pulldn_fast {
					pinctrl-single,pins = <MMC3_CLK>;
					DS_FAST;PULL_DOWN;EDGE_NONE;LPM_NONE;
				};

				/* I2S1 (CODEC_I2S) */
				sspa0_func: sspa0_func {
					pinctrl-single,pins = <
						I2S1_BITCLK
						I2S1_SYNC
						I2S1_DATA_OUT
						I2S1_SDATA_IN
					>;
					MFP_DEFAULT;
				};

				/* I2S2 (BT_I2S) */
				sspa1_func: sspa1_func {
					pinctrl-single,pins = <
						I2S2_BITCLK
						I2S2_SYNC
						I2S2_DATA_OUT
						I2S2_SDATA_IN
					>;
					MFP_DEFAULT;
				};

				/* DVC */
				dvc_pins: pinmux_dvc_pins {
					pinctrl-single,pins = <
						GPIO_DVCO0
						GPIO_DVCO1
						GPIO_DVCO2
						GPIO_DVCO3
					>;
					MFP_DEFAULT;
				};

				/* GPIO Keys */
				gpio_keys_pins: pinmux_gpio_keys_pins {
					pinctrl-single,pins = <
						GPIO(MA01_HOME_KEY)
					>;
					MFP_LPM_PULL_HIGH;
				};

				/* Keys */
				keypad_in_func: pinmux_keypad_in_func {
					pinctrl-single,pins = <
						KEY_VOL_UP
						KEY_VOL_DOWN
					>;
					DS_MEDIUM;PULL_UP;EDGE_NONE;LPM_DRIVEHIGH;
				};

				/* GPS */
				gps_lpm_drv_low_pins: pinmux_gps_lpm_drv_low_pins {
					pinctrl-single,pins = <GPIO(MA01_GPS_RESET_N) GPIO(MA01_GPS_PWR_ON)>;
					MFP_LPM_DRIVE_LOW;
				};
				gps_lpm_drv_high_pins: pinmux_gps_lpm_drv_high_pins {
					pinctrl-single,pins = <GPIO(MA01_GPS_RESET_N)>;
					MFP_LPM_DRIVE_HIGH;
				};

				/* LCD */
				lcd_pins: pinmux_lcd_pins {
					pinctrl-single,pins = <
						GPIO(MA01_LCD_POWER_ON)
						GPIO(MA01_LCD_PWR_ON)
						GPIO(MA01_LCD_BACKLIGHT_ON)
					>;
					MFP_LPM_DRIVE_LOW;
				};
				lcd_pull_up_pins: pinmux_lcd_pull_up_pins {
					pinctrl-single,pins = <
						GPIO(MA01_LCD_POWER_TYPE)
						GPIO(MA01_LCD_MICOM)
						GPIO(MA01_LCD_ORIENT)
					>;
					MFP_PULL_UP;
				};

				/* Touch panel */
				touch_int_pin: pinmux_touch_int_pin {
					pinctrl-single,pins = <GPIO(MA01_TP_INT)>;
					MFP_PULL_UP;
				};
				touch_reset_pin: pinmux_touch_reset_pin {
					pinctrl-single,pins = <GPIO(MA01_TP_RESET_N)>;
					MFP_DEFAULT;
				};

				/* BQ24160 */
				bq24160_int_pin: pinmux_bq24160_pin {
					pinctrl-single,pins = <GPIO(MA01_CHRG_INT)>;
					MFP_DEFAULT;
				};

				bq24160_int_pin_sleep: pinmux_bq24160_pin_sleep {
					pinctrl-single,pins = <GPIO(MA01_CHRG_INT)>;
					DS_MEDIUM;PULL_NONE;EDGE_BOTH;LPM_NONE;
				};

				/* Test pins */
				test_pins: pinmux_test_pins {
					pinctrl-single,pins = <
						GPIO(MA01_TP502)
						GPIO(MA01_TP503)
						GPIO(MA01_TP504)
						GPIO(MA01_TP505)
						GPIO(MA01_TP524)
						GPIO(MA01_TP547)
						GPIO(MA01_TP548)
						GPIO(MA01_TP549)
						GPIO(MA01_TP567)
						GPIO(MA01_TP568)
						GPIO(MA01_TP569)
						GPIO(MA01_TP570)
						GPIO(MA01_TP571)
						GPIO(MA01_TP572)
						GPIO(MA01_TP573)
						GPIO(MA01_TP574)
					>;
					MFP_DEFAULT;
				};
			};

			seh {
				status = "okay";
			};

			acipc: acipc@d401c000 {
				status = "okay";
			};

			cp-load {
				compatible = "mrvl,cp_load";
				cp-type = <2>; /* pxa1928 */
				lpm-qos = <PM_QOS_CPUIDLE_BLOCK_AXI>;
				status = "okay";
			};
		};

		dec-devfreq {
			status = "okay";
		};

		enc-devfreq {
			status = "okay";
		};

		ddr-devfreq {
			status = "okay";
		};

#if 0
		keyreset {
			compatible = "marvell,keyreset";
			keys-down = <0x73 0x72>;
			keyreset-need-panic;
		};
#endif

		soc-camera@0 {
			status = "okay";
		};

		soc-camera@1 {
			status = "okay";
		};

		mcam0: mcam@0 {
			sc2-i2c-dyn-ctrl;
			avdd_2v8-supply = <&ldo7>;
			avdd_2v8v4-supply = <&ldo7>;
			dovdd_1v8-supply = <&ldo6>;
			af_2v8-supply = <&ldo7>;
			dvdd_1v2-supply = <&buck3>;
			pwdn-gpios = <&gpio MA01_RCAM_STBY_N 0>;
			reset-gpios = <&gpio MA01_RCAM_RESET_N 0>;
			/* CSI2_DPHY3, CSI2_DPHY5, CSI2_DPHY6 */
			dphy_val = <0xff1c09 0x0033 0x0c00>;
			status = "okay";
		};

		mcam1: mcam@1 {
			sc2-i2c-dyn-ctrl;
			avdd_2v8-supply = <&ldo7>;
			avdd_2v8v4-supply = <&ldo7>;
			dovdd_1v8-supply = <&ldo6>;
			af_2v8-supply = <&ldo7>;
			dvdd_1v2-supply = <&buck3>;
			pwdn-gpios = <&gpio MA01_FCAM_STBY_N 0>;
			reset-gpios = <&gpio MA01_FCAM_RESET_N 0>;
			/* CSI2_DPHY3, CSI2_DPHY5, CSI2_DPHY6 */
			dphy_val = <0x0d04 0x0011 0x0c00>;
			status = "okay";
		};
	};

	mmp_pcm_hostless: mmp_pcm_hostless {
		bus_number = <0>;
		compatible = "marvell,mmp-pcm-hostless";
		#dailink-cells = <1>;
		status = "okay";
	};

	snd_soc_dummy: snd_soc_dummy {
		compatible = "snd-soc-dummy";
		#dailink-cells = <1>;
		status = "okay";
	};

	sound {
		compatible = "marvell,map-card";
		map,dapm-route =
			"ADC input1", "TDM_MIC1_CAP",
			"ADC input2", "TDM_MIC2_CAP",
			"ADC input3", "BT_VC_UL",
			"TDM_OUT1_PLAYBACK", "DAC1 output out1",
			"TDM_OUT2_PLAYBACK", "DAC2 output out2",
			"BT_VC_DL", "i2s3_bt_vc",
			"I2S_SPKR_DL", "ain3_spkr_en";
		fe_i2s1: fe_i2s1 {
			compatible = "marvell,map-dailink-1";
			dai-name = "MAP I2S1 audio";
			stream-name = "map i2s1";
			marvell,cpu-dai = <&sspa0 0>;
			marvell,codec-dai = <&mmp_map_codec 1>;
		};
		fe_i2s2: fe_i2s2 {
			compatible = "marvell,map-dailink-1";
			dai-name = "MAP I2S4 audio";
			stream-name = "map i2s4";
			marvell,cpu-dai = <&sspa1 1>;
			marvell,codec-dai = <&mmp_map_codec 4>;
		};
		fe_i2s3: fe_i2s3 {
			compatible = "marvell,map-dailink-2";
			dai-name = "MAP I2S2 audio";
			stream-name = "map i2s2";
			marvell,cpu-dai = <&mmp_pcm_hostless 0>;
			marvell,codec-dai = <&mmp_map_codec 2>;
			marvell,dai-no-host-mode;
		};
		fe_i2s4: fe_i2s4 {
			compatible = "marvell,map-dailink-7";
			dai-name = "MAP I2S3 audio";
			stream-name = "map i2s3";
			marvell,cpu-dai = <&mmp_pcm_hostless 1>;
			marvell,codec-dai = <&mmp_map_codec 3>;
			marvell,dai-no-host-mode;
		};
		fe_i2s5: fe_i2s5 {
			compatible = "marvell,map-dailink-2";
			dai-name = "MAP I2S5 audio";
			stream-name = "map i2s5";
			marvell,cpu-dai = <&mmp_pcm_hostless 2>;
			marvell,codec-dai = <&mmp_map_codec 5>;
			marvell,dai-dynamic;
			marvell,dai-no-host-mode;
		};
		be_i2s1: be_i2s1 {
			compatible = "marvell,map-dailink-3";
			dai-name = "MAP AUXI2S audio";
			stream-name = "BT audio";
			marvell,cpu-dai = <&mmp_map_be 1>;
			marvell,codec-dai = <&snd_soc_dummy 0>;
			marvell,codec-name = "snd-soc-dummy";
			marvell,codec-dai-name = "snd-soc-dummy-dai";
			marvell,dai-no-pcm;
			marvell,dai-fixup = <0>;
		};
		be_i2s2: be_i2s2 {
			compatible = "marvell,map-dailink-6";
			dai-name = "MAP TDM hs audio";
			stream-name = "codec hs audio";
			marvell,cpu-dai = <&mmp_map_be_tdm 2>;
			marvell,codec-dai = <&pm860_codec 3>;
			marvell,dai-no-pcm;
			marvell,dai-fixup = <1>;
		};
		be_i2s3: be_i2s3 {
			compatible = "marvell,map-dailink-4";
			dai-name = "MAP TDM speaker audio";
			stream-name = "codec speaker audio";
			marvell,cpu-dai = <&mmp_map_be_tdm 1>;
			marvell,codec-dai = <&pm860_codec 4>;
			marvell,dai-no-pcm;
			marvell,dai-fixup = <1>;
		};
		be_i2s4: be_i2s4 {
			compatible = "marvell,map-dailink-5";
			dai-name = "MAP TDM mic1 audio";
			stream-name = "codec mic1 audio";
			marvell,cpu-dai = <&mmp_map_be_tdm 3>;
			marvell,codec-dai = <&pm860_codec 1>;
			marvell,dai-no-pcm;
		};
		be_i2s5: be_i2s5 {
			compatible = "marvell,map-dailink-5";
			dai-name = "MAP TDM mic2 audio";
			stream-name = "codec mic2 audio";
			marvell,cpu-dai = <&mmp_map_be_tdm 4>;
			marvell,codec-dai = <&pm860_codec 2>;
			marvell,dai-no-pcm;
		};
		be_i2s6: be_i2s6 {
			compatible = "marvell,map-dailink-8";
			dai-name = "MAP SPKI2S audio";
			stream-name = "I2S SPK audio";
			marvell,cpu-dai = <&mmp_map_be 4>;
			marvell,codec-dai = <&snd_soc_dummy 1>;
			marvell,codec-name = "snd-soc-dummy";
			marvell,codec-dai-name = "snd-soc-dummy-dai";
			marvell,dai-no-pcm;
		};
	};

	ion {
		marvell,ion-nr = <2>;
		status = "okay";
		marvell,ion-iommu = <1>;
		heap1 {
			marvell,ion-name = "carveout_heap";
			marvell,ion-type = <2>;
			marvell,ion-id = <2>;
			marvell,ion-base = <0x1200000>;
			marvell,ion-size = <0>;
		};
		heap2 {
			marvell,ion-name = "system_heap";
			marvell,ion-type = <0>;
			marvell,ion-id = <0>;
		};
	};

	/*
	 * ramoops:
	 * 256 KB memory starts at 0x8100000
	 * pstore dump: 2 chunks, totall 64 KB, 32 KB each
	 * console size: 192 KB
	 * no dump_oops
	 */
	ramoops {
		compatible = "pstore,ramoops";
		mem-size = <0x40000>;
		mem-address = <0x8100000>;
		record-size = <0x8000>;
		console-size = <0x30000>;
		dump-oops = <0>;
		status = "okay";
	};

	panel: panel_vx5b1d {
		compatible = "marvell,mmp-vx5b1d";
		marvell,path-name = "mmp_pnpath";
		status = "okay";
		vx5b1d,reset_gpio = <&gpio MA01_VX5_RESET_N 0>;
		vx5b1d,i2c_adapter = <4>;	/* TWSI5 */
		vx5b1d,i2c_devaddr = <0x64>;
		vx5b1d,spi = <1>;
		lcd,power_on = <&gpio MA01_LCD_POWER_ON 0>;
		lcd,pwr_on = <&gpio MA01_LCD_PWR_ON 0>;
		lcd,backlight_on = <&gpio MA01_LCD_BACKLIGHT_ON 0>;
		lcd,power_type = <&gpio MA01_LCD_POWER_TYPE 0>;
		lcd,micom = <&gpio MA01_LCD_MICOM 0>;

		video_mode {
			dsi-panel-xres = <1280>;
			dsi-panel-yres = <800>;
			dsi-panel-width = <217>;	/* FIXME: active area in mm */
			dsi-panel-height = <136>;	/* FIXME: active area in mm */
			dsi-h-front-porch = <48>;
			dsi-h-back-porch = <48>;
			dsi-h-sync-width = <160>;
			dsi-v-front-porch = <10>;
			dsi-v-back-porch = <3>;
			dsi-v-sync-width = <10>;
		};
		video_mode_p {// dummy
			dsi-panel-xres = <800>;
			dsi-panel-yres = <1280>;
			dsi-panel-width = <136>;	/* FIXME: active area in mm */
			dsi-panel-height = <217>;	/* FIXME: active area in mm */
			dsi-h-front-porch = <60>;
			dsi-h-back-porch = <60>;
			dsi-h-sync-width = <20>;
			dsi-v-back-porch = <16>;
			dsi-v-front-porch = <21>;
			dsi-v-sync-width = <1>;
		};
		video_mode_spi {// spi,micom
			dsi-panel-xres = <800>;
			dsi-panel-yres = <1280>;
			dsi-panel-width = <136>;	/* FIXME: active area in mm */
			dsi-panel-height = <217>;	/* FIXME: active area in mm */
			dsi-h-front-porch = <60>;
			dsi-h-back-porch = <60>;
			dsi-h-sync-width = <20>;
			dsi-v-back-porch = <16>;
			dsi-v-front-porch = <21>;
			dsi-v-sync-width = <1>;
		};
	};

	/*
	 * V_WIB_1V8(ldo8/1.8v) and V_WIB_SYS(buck5/3.3v)
	 * are set to always on temperately.
	 * V_WIB_SDIO(buck2/1.8v) shared with other components and must keep on.
	 * The regulator transferred to driver mainly for sleep mode control.
	 */
	sd8x-rfkill {
		pinctrl-names = "off", "on";
		pinctrl-0 = <&sdh2_pins_pd_rst_off>;
		pinctrl-1 = <&sdh2_pins_pd_rst_on>;
		sd-host = <&sdh2>;
		pd-gpio = <&gpio MA01_WIFI_PDN 0>;
		wib_3v3-supply = <&buck5>;
		wib_1v8-supply = <&ldo8>;
		edge-wakeup-gpio = <&gpio MA01_WIFI_DAT1 0>;
		status = "okay";
	};

	sd8xxx-wlan {
		drv_mode = <0x5>;
		cfg80211_wext = <0xc>;
		sta_name = "wlan";
		wfd_name = "p2p";
		max_vir_bss = <1>;
		drvdbg = <0x80007>;
		/*init_cfg = "mrvl/wifi_init_cfg.conf";*/
		reg_alpha2 = "JP";
		p2p_enh = <1>;
	};

	sd8xxx-bt {
		/*init_cfg = "mrvl/bt_init_cfg.conf";*/
	};

	b52isp_sc2_csi0 {
		status = "okay";
	};

	b52isp_sc2_csi1 {
		status = "okay";
	};

	b52isp_sc2_dma0 {
		status = "okay";
	};

	b52isp_sc2_dma1 {
		status = "okay";
	};

	plat_cam {
		status = "okay";
		revision = <4>;
		frontsensor {
			compatible = "marvell,frontsensor";
			#address-cells = <1>;
			#size-cells = <0>;
			status = "okay";
		};
		backsensor {
			compatible = "marvell,backsensor";
			#address-cells = <1>;
			#size-cells = <0>;
			status = "okay";
		};
	};

	tzdd {
		status = "okay";
	};

	dip {
		compatible = "marvell,simple-dip";
		plat = <2>;
	};
};
